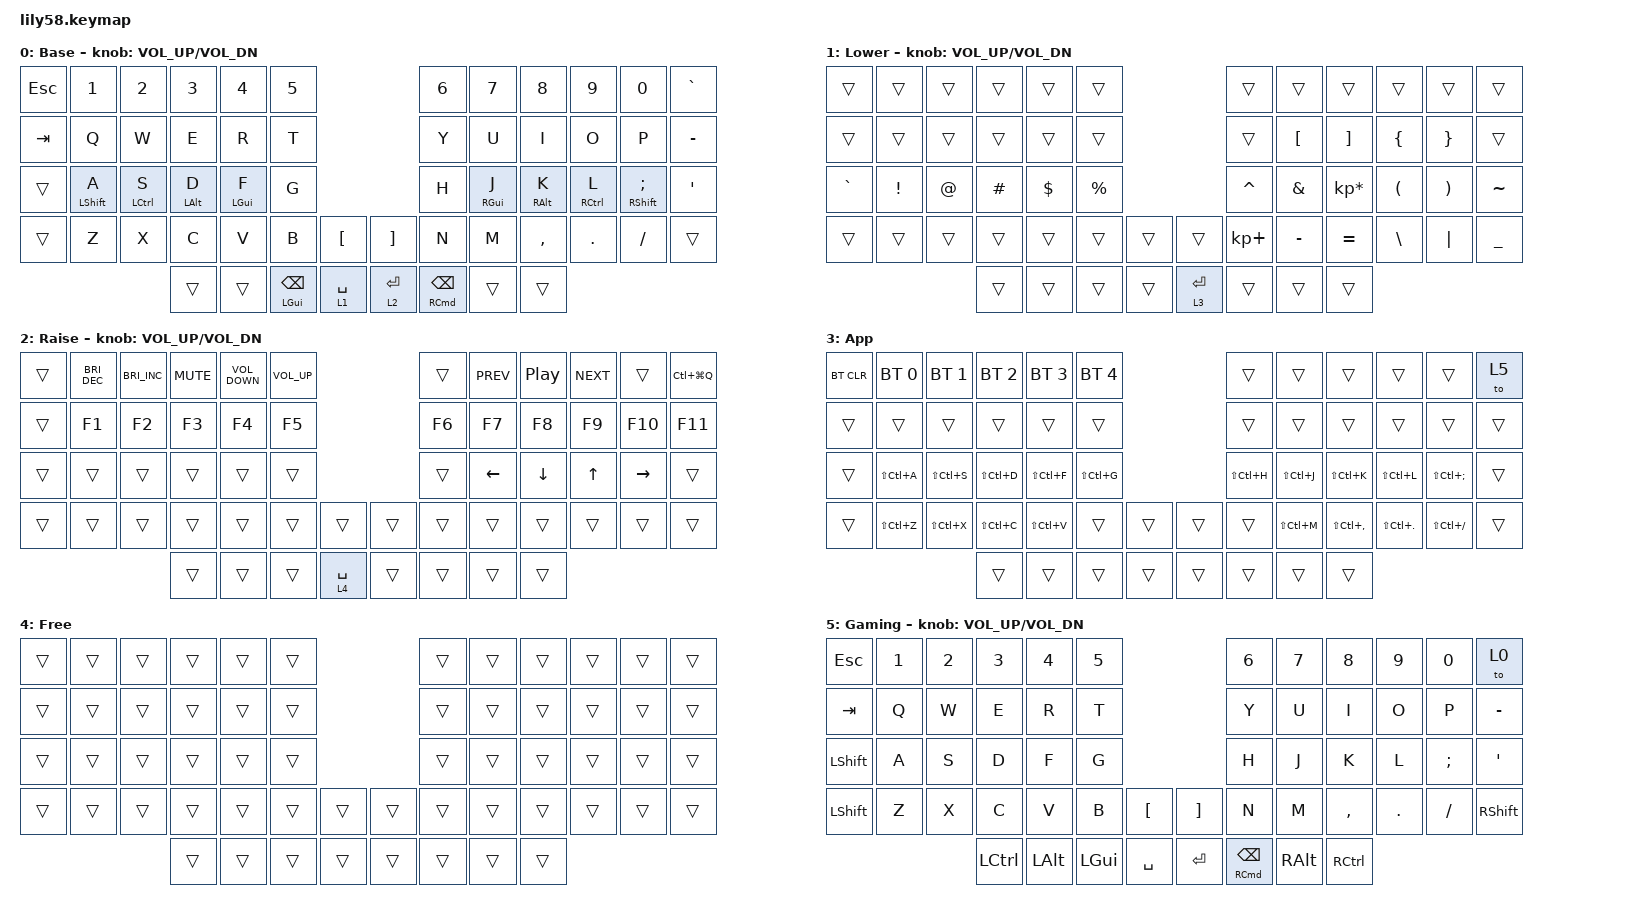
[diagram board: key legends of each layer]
/*
 * Copyright (c) 2020 The ZMK Contributors
 *
 * SPDX-License-Identifier: MIT
 */

#include <behaviors.dtsi>
#include <dt-bindings/zmk/bt.h>
#include <dt-bindings/zmk/keys.h>

/ {
    behaviors {
        HMShiftR: HMShiftR {
            compatible = "zmk,behavior-hold-tap";
            label = "HMSHIFTR";
            bindings = <&kp>, <&kp>;

            #binding-cells = <2>;
            tapping-term-ms = <200>;
            hold-while-undecided;
            hold-trigger-key-positions = <53 52 51 50 36 0 1 12 13 14 15 16 17 24 25 26 27 28 29 38 39 40 41 42 2 3 4 5 37>;
            hold-trigger-on-release;
        };

        HMShiftL: HMShiftL {
            compatible = "zmk,behavior-hold-tap";
            label = "HMSHIFTL";
            bindings = <&kp>, <&kp>;

            #binding-cells = <2>;
            tapping-term-ms = <200>;
            hold-while-undecided;
            hold-trigger-on-release;
            hold-trigger-key-positions = <6 7 8 9 10 11 18 19 20 21 22 23 30 31 32 33 34 35 44 45 46 47 48 49 55 56 57 43 54>;
        };

        HMR: HMR {
            compatible = "zmk,behavior-hold-tap";
            label = "HMR";
            bindings = <&kp>, <&kp>;

            #binding-cells = <2>;
            tapping-term-ms = <200>;
            hold-while-undecided;
            hold-trigger-key-positions = <53 52 51 50 36 0 1 12 13 14 15 16 17 24 25 26 27 28 29 38 39 40 41 42 2 3 4 5 37>;
            hold-trigger-on-release;
            flavor = "tap-preferred";
        };

        HML: HML {
            compatible = "zmk,behavior-hold-tap";
            label = "HML";
            bindings = <&kp>, <&kp>;

            #binding-cells = <2>;
            tapping-term-ms = <200>;
            hold-while-undecided;
            hold-trigger-on-release;
            hold-trigger-key-positions = <6 7 8 9 10 11 18 19 20 21 22 23 30 31 32 33 34 35 44 45 46 47 48 49 55 56 57 43 54>;
            flavor = "tap-preferred";
        };
    };

    keymap {
        compatible = "zmk,keymap";

        default_layer {
            // ------------------------------------------------------------------------------------------------------------
            // |  ESC  |  1  |  2  |  3   |  4   |  5   |                   |  6   |  7    |  8    |  9   |   0   |   `   |
            // |  TAB  |  Q  |  W  |  E   |  R   |  T   |                   |  Y   |  U    |  I    |  O   |   P   |   -   |
            // |  CTRL |  A  |  S  |  D   |  F   |  G   |                   |  H   |  J    |  K    |  L   |   ;   |   '   |
            // | SHIFT |  Z  |  X  |  C   |  V   |  B   |   "["  |  |  "]"  |  N   |  M    |  ,    |  .   |   /   | SHIFT |
            //                     | ALT  | GUI  | LOWER|  SPACE |  | ENTER | RAISE| BSPC  | GUI   |

            display-name = "Base";
            bindings = <
&kp ESC  &kp N1        &kp N2        &kp N3       &kp N4       &kp N5                                          &kp N6              &kp N7       &kp N8       &kp N9        &kp N0           &kp GRAVE
&kp TAB  &kp Q         &kp W         &kp E        &kp R        &kp T                                           &kp Y               &kp U        &kp I        &kp O         &kp P            &kp MINUS
&trans   &HML LSHFT A  &HML LCTRL S  &HML LALT D  &HML LGUI F  &kp G                                           &kp H               &HMR RGUI J  &HMR RALT K  &HMR RCTRL L  &HMR RSHFT SEMI  &kp SQT
&trans   &kp Z         &kp X         &kp C        &kp V        &kp B               &kp LBKT       &kp RBKT     &kp N               &kp M        &kp COMMA    &kp DOT       &kp FSLH         &trans
                                     &trans       &trans       &mt LGUI BACKSPACE  &lt 1 SPACE    &lt 2 ENTER  &mt RCMD BACKSPACE  &trans       &trans
            >;

            sensor-bindings = <&inc_dec_kp C_VOL_UP C_VOL_DN>;
        };

        lower_layer {
            // ------------------------------------------------------------------------------------------------------------
            // | BTCLR | BT1 | BT2 |  BT3 |  BT4 |  BT5 |                   |      |       |       |      |       |       |
            // |  F1   |  F2 |  F3 |  F4  |  F5  |  F6  |                   |  F7  |  F8   |  F9   |  F10 |  F11  |  F12  |
            // |   `   |  !  |  @  |  #   |  $   |  %   |                   |  ^   |  &    |  *    |  (   |   )   |   ~   |
            // |       |     |     |      |      |      |        |  |       |      |  _    |  +    |  {   |   }   |  "|"  |
            //                     |      |      |      |        |  |       |      |       |       |

            display-name = "Lower";
            bindings = <
&trans     &trans    &trans  &trans    &trans      &trans                             &trans       &trans            &trans             &trans          &trans           &trans
&trans     &trans    &trans  &trans    &trans      &trans                             &trans       &kp LEFT_BRACKET  &kp RIGHT_BRACKET  &kp LEFT_BRACE  &kp RIGHT_BRACE  &trans
&kp GRAVE  &kp EXCL  &kp AT  &kp HASH  &kp DOLLAR  &kp PRCNT                          &kp CARET    &kp AMPS          &kp KP_MULTIPLY    &kp LPAR        &kp RPAR         &kp TILDE
&trans     &trans    &trans  &trans    &trans      &trans     &trans    &trans        &kp KP_PLUS  &kp MINUS         &kp EQUAL          &kp BACKSLASH   &kp PIPE         &kp UNDER
                             &trans    &trans      &trans     &trans    &lt 3 RETURN  &trans       &trans            &trans
            >;

            sensor-bindings = <&inc_dec_kp C_VOL_UP C_VOL_DN>;
        };

        raise_layer {
            // ------------------------------------------------------------------------------------------------------------
            // |       |     |     |      |      |      |                   |      |       |       |      |       |       |
            // |   `   |  1  |  2  |  3   |  4   |  5   |                   |  6   |   7   |   8   |  9   |   0   |       |
            // |   F1  |  F2 |  F3 |  F4  |  F5  |  F6  |                   |      |   <-  |   v   |  ^   |  ->   |       |
            // |   F7  |  F8 |  F9 |  F10 |  F11 |  F12 |        |  |       |  +   |   -   |   =   |  [   |   ]   |   \   |
            //                     |      |      |      |        |  |       |      |       |       |

            display-name = "Raise";
            bindings = <
&trans  &kp C_BRIGHTNESS_DEC  &kp C_BRIGHTNESS_INC  &kp K_MUTE  &kp K_VOLUME_DOWN  &kp K_VOLUME_UP                         &trans  &kp C_PREV  &kp C_PP  &kp C_NEXT  &trans     &kp LC(LG(Q))
&trans  &kp F1                &kp F2                &kp F3      &kp F4             &kp F5                                  &kp F6  &kp F7      &kp F8    &kp F9      &kp F10    &kp F11
&trans  &trans                &trans                &trans      &trans             &trans                                  &trans  &kp LEFT    &kp DOWN  &kp UP      &kp RIGHT  &trans
&trans  &trans                &trans                &trans      &trans             &trans           &trans         &trans  &trans  &trans      &trans    &trans      &trans     &trans
                                                    &trans      &trans             &trans           &lt 4 SPACE    &trans  &trans  &trans      &trans
            >;

            sensor-bindings = <&inc_dec_kp C_VOL_UP C_VOL_DN>;
        };

        app_layer {
            bindings = <
&bt BT_CLR  &bt BT_SEL 0   &bt BT_SEL 1   &bt BT_SEL 2   &bt BT_SEL 3   &bt BT_SEL 4                     &trans         &trans         &trans             &trans              &trans                 &to 5
&trans      &trans         &trans         &trans         &trans         &trans                           &trans         &trans         &trans             &trans              &trans                 &trans
&trans      &kp LS(LC(A))  &kp LS(LC(S))  &kp LS(LC(D))  &kp LS(LC(F))  &kp LS(LC(G))                    &kp LS(LC(H))  &kp LS(LC(J))  &kp LS(LC(K))      &kp LS(LC(L))       &kp LS(LC(SEMICOLON))  &trans
&trans      &kp LS(LC(Z))  &kp LS(LC(X))  &kp LS(LC(C))  &kp LS(LC(V))  &trans         &trans    &trans  &trans         &kp LS(LC(M))  &kp LS(LC(COMMA))  &kp LS(LC(PERIOD))  &kp LS(LC(SLASH))      &trans
                                          &trans         &trans         &trans         &trans    &trans  &trans         &trans         &trans
            >;

            label = "App";
        };

        free_realestate {
            bindings = <
&trans  &trans  &trans  &trans  &trans  &trans                    &trans  &trans  &trans  &trans  &trans  &trans
&trans  &trans  &trans  &trans  &trans  &trans                    &trans  &trans  &trans  &trans  &trans  &trans
&trans  &trans  &trans  &trans  &trans  &trans                    &trans  &trans  &trans  &trans  &trans  &trans
&trans  &trans  &trans  &trans  &trans  &trans  &trans    &trans  &trans  &trans  &trans  &trans  &trans  &trans
                        &trans  &trans  &trans  &trans    &trans  &trans  &trans  &trans
            >;

            label = "Free";
        };

        gaming_layer {
            display-name = "Gaming";
            bindings = <
&kp ESC         &kp N1  &kp N2  &kp N3     &kp N4    &kp N5                                &kp N6              &kp N7    &kp N8     &kp N9   &kp N0    &to 0
&kp TAB         &kp Q   &kp W   &kp E      &kp R     &kp T                                 &kp Y               &kp U     &kp I      &kp O    &kp P     &kp MINUS
&kp LEFT_SHIFT  &kp A   &kp S   &kp D      &kp F     &kp G                                 &kp H               &kp J     &kp K      &kp L    &kp SEMI  &kp SQT
&kp LSHFT       &kp Z   &kp X   &kp C      &kp V     &kp B         &kp LBKT     &kp RBKT   &kp N               &kp M     &kp COMMA  &kp DOT  &kp FSLH  &kp RSHFT
                                &kp LCTRL  &kp LALT  &kp LEFT_GUI  &kp SPACE    &kp ENTER  &mt RCMD BACKSPACE  &kp RALT  &kp RCTRL
            >;

            sensor-bindings = <&inc_dec_kp C_VOL_UP C_VOL_DN>;
        };
    };
};
